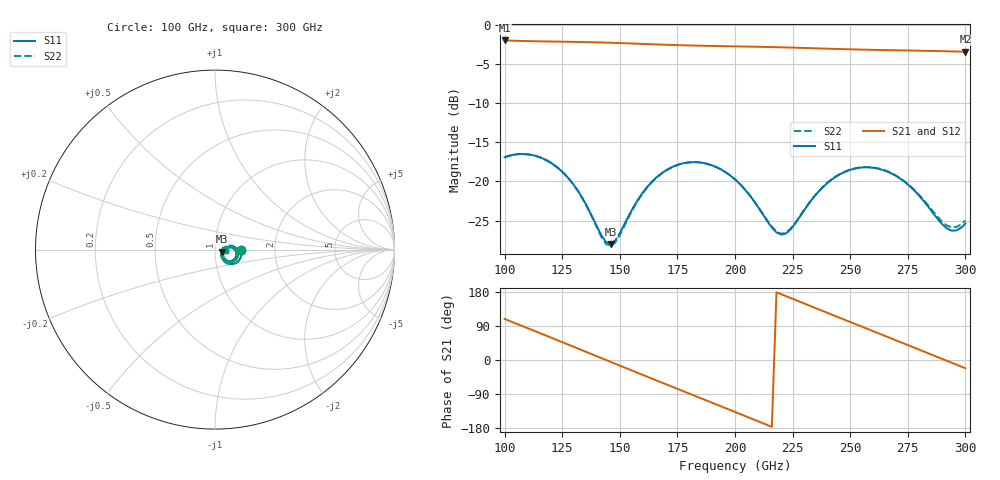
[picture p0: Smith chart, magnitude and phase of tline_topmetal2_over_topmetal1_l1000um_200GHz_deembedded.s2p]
! Created with skrf 2.2.0 (http://scikit-rf.org).
# GHz S DB R 50.0
! Port[1] = P1
! Port[2] = P2
!freq dBS11 angS11 dBS21 angS21 dBS12 angS12 dBS22 angS22
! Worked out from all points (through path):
!   101 points, 100 GHz to 300 GHz, reference 50 ohm
!   highest |S21| = -1.97 dB at 100 GHz (marker M1); lowest = -3.4 dB at 300 GHz (marker M2)
!   group delay of S21, straight-line fit = 6.81 ps
!   lowest |S11| = -28.0 dB at 146 GHz (marker M3), VSWR 1.08, Z = 54 - j1.16 ohm
!   |S11| at or under -10 dB: start of sweep to end of sweep
!   |S22| runs from -28.3 to -16.5 dB; largest |S21 - S12| = 1.2e-13
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100  -16.91 -1.1  -1.97 108.3  -1.97 108.3  -16.91 -1.3
108  -16.49 -15.3  -2.04 88.8  -2.04 88.8  -16.49 -15.7
116  -16.99 -29.5  -2.09 69.3  -2.09 69.3  -16.98 -30.0
126  -19.04 -45.1  -2.13 44.7  -2.13 44.7  -19.05 -45.8
134  -22.24 -51.6  -2.17 24.9  -2.17 24.9  -22.28 -52.7
142  -26.88 -37.8  -2.23 5.0  -2.23 5.0  -27.07 -39.2
146  -27.98 -15.6  -2.27 -4.9  -2.27 -4.9  -28.27 -16.1
156  -23.24 15.9  -2.37 -29.6  -2.37 -29.6  -23.35 16.5
168  -18.98 6.6  -2.50 -59.0  -2.50 -59.0  -19.02 7.0
176  -17.79 -5.5  -2.57 -78.6  -2.57 -78.6  -17.80 -5.3
184  -17.54 -18.5  -2.64 -98.0  -2.64 -98.0  -17.55 -18.3
200  -19.74 -41.4  -2.73 -137.1  -2.73 -137.1  -19.73 -41.2
210  -23.27 -45.5  -2.78 -161.6  -2.78 -161.6  -23.22 -45.2
220  -26.80 -19.6  -2.85 173.8  -2.85 173.8  -26.69 -19.7
234  -22.08 9.7  -2.97 139.4  -2.97 139.4  -22.04 9.2
244  -19.35 1.2  -3.06 114.9  -3.06 114.9  -19.32 0.8
252  -18.35 -9.9  -3.12 95.5  -3.12 95.5  -18.33 -10.2
260  -18.24 -21.9  -3.17 76.0  -3.17 76.0  -18.22 -22.1
268  -18.99 -33.3  -3.22 56.5  -3.22 56.5  -18.95 -33.3
284  -23.28 -43.6  -3.30 17.4  -3.30 17.4  -23.12 -43.0
294  -26.29 -22.1  -3.37 -7.1  -3.37 -7.1  -25.87 -22.3
300  -25.40 -3.2  -3.42 -21.8  -3.42 -21.8  -25.01 -4.9
